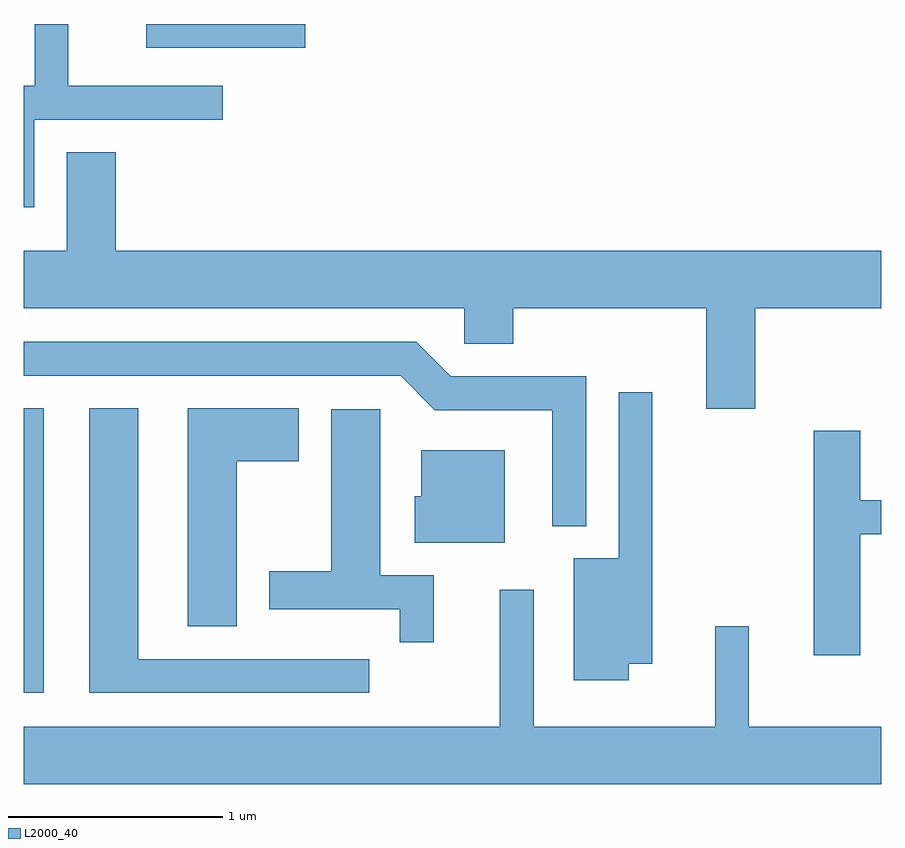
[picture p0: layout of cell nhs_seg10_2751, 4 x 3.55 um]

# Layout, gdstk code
import gdstk
lib = gdstk.Library(unit=1e-6, precision=1e-09)
def R(c, l, rs):  # rectangles x0, y0, x1, y1
    for r in rs: c.add(gdstk.rectangle(r[:2], r[2:], *l))
def P(c, l, *ps):  # polygons
    for p in ps: c.add(gdstk.Polygon(p, *l))
L2000_40 = (2000, 40)

nhs_seg10_2751 = lib.new_cell('nhs_seg10_2751')
R(nhs_seg10_2751, L2000_40, [(265.611,2165.401,265.704,2166.729), (266.181,2168.411,266.924,2168.522)])
P(nhs_seg10_2751, L2000_40, [(265.659,2168.076),(266.538,2168.076),(266.538,2168.234),(265.819,2168.234),(265.819,2168.522),(265.661,2168.522),(265.661,2168.234),(265.611,2168.234),(265.611,2167.666),(265.659,2167.666)],
  [(269.024,2167.196),(269.611,2167.196),(269.611,2167.464),(266.039,2167.464),(266.039,2167.924),(265.811,2167.924),(265.811,2167.464),(265.611,2167.464),(265.611,2167.196),(267.666,2167.196),(267.666,2167.031),(267.894,2167.031),(267.894,2167.196),(268.796,2167.196),(268.796,2166.726),(269.024,2166.726)],
  [(268.234,2166.879),(267.602,2166.879),(267.442,2167.039),(265.611,2167.039),(265.611,2166.881),(267.369,2166.881),(267.529,2166.721),(268.076,2166.721),(268.076,2166.178),(268.234,2166.178)],
  [(268.434,2165.536),(268.544,2165.536),(268.544,2166.803),(268.386,2166.803),(268.386,2166.029),(268.176,2166.029),(268.176,2165.461),(268.434,2165.461)],
  [(266.604,2166.481),(266.894,2166.481),(266.894,2166.729),(266.376,2166.729),(266.376,2165.711),(266.604,2165.711)],
  [(267.223,2165.559),(266.144,2165.559),(266.144,2166.729),(265.916,2166.729),(265.916,2165.401),(267.223,2165.401)],
  [(267.524,2165.949),(267.274,2165.949),(267.274,2166.724),(267.046,2166.724),(267.046,2165.969),(266.756,2165.969),(266.756,2165.791),(267.366,2165.791),(267.366,2165.638),(267.524,2165.638)],
  [(269.514,2166.141),(269.611,2166.141),(269.611,2166.299),(269.514,2166.299),(269.514,2166.624),(269.296,2166.624),(269.296,2165.576),(269.514,2165.576)],
  [(267.854,2166.534),(267.466,2166.534),(267.466,2166.319),(267.436,2166.319),(267.436,2166.101),(267.854,2166.101)],
  [(269.611,2165.244),(268.994,2165.244),(268.994,2165.713),(268.836,2165.713),(268.836,2165.244),(267.989,2165.244),(267.989,2165.883),(267.831,2165.883),(267.831,2165.244),(265.611,2165.244),(265.611,2164.976),(269.611,2164.976)])

lib.write_gds('nhs_seg10_2751.gds')
